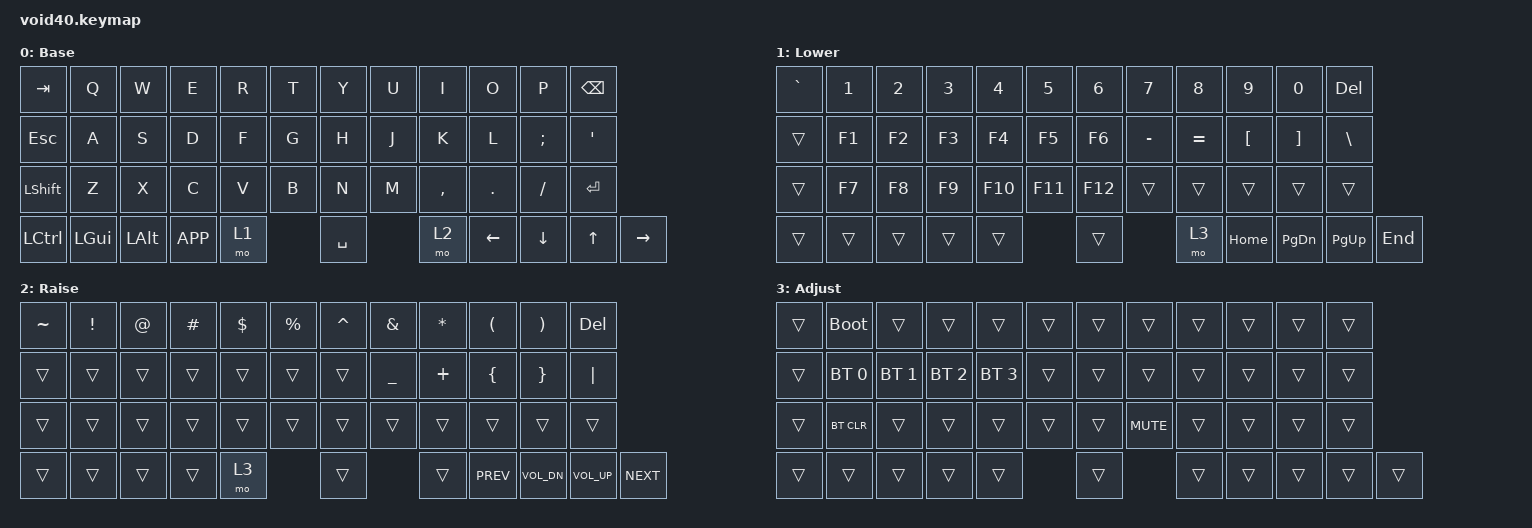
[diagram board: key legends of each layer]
/*
 * Void40 ZMK Keymap — MIT layout (one big spacebar)
 * Controller: Raspberry Pi Pico (RP2040)
 * Layers: Base, Lower, Raise, Adjust
 */

#include <behaviors.dtsi>
#include <dt-bindings/zmk/keys.h>
#include <dt-bindings/zmk/bt.h>
#include <dt-bindings/zmk/outputs.h>

/ {
    keymap {
        compatible = "zmk,keymap";

        // Layer 0: Base (QWERTY)
        base_layer {
            label = "Base";
            bindings = <
                &kp TAB    &kp Q    &kp W    &kp E    &kp R    &kp T    &kp Y    &kp U    &kp I     &kp O    &kp P     &kp BSPC
                &kp ESC    &kp A    &kp S    &kp D    &kp F    &kp G    &kp H    &kp J    &kp K     &kp L    &kp SEMI  &kp SQT
                &kp LSHFT  &kp Z    &kp X    &kp C    &kp V    &kp B    &kp N    &kp M    &kp COMMA &kp DOT  &kp FSLH  &kp RET
                &kp LCTRL  &kp LGUI &kp LALT &kp APP  &mo 1             &kp SPC           &mo 2     &kp LEFT &kp DOWN  &kp UP   &kp RIGHT
            >;
        };

        // Layer 1: Lower — numbers, F-keys
        lower_layer {
            label = "Lower";
            bindings = <
                &kp GRAVE  &kp N1   &kp N2   &kp N3   &kp N4   &kp N5   &kp N6   &kp N7   &kp N8   &kp N9   &kp N0    &kp DEL
                &trans     &kp F1   &kp F2   &kp F3   &kp F4   &kp F5   &kp F6   &kp MINUS &kp EQUAL &kp LBKT &kp RBKT &kp BSLH
                &trans     &kp F7   &kp F8   &kp F9   &kp F10  &kp F11  &kp F12  &trans   &trans   &trans   &trans    &trans
                &trans     &trans   &trans   &trans   &trans            &trans            &mo 3    &kp HOME &kp PG_DN &kp PG_UP &kp END
            >;
        };

        // Layer 2: Raise — shifted symbols, media
        raise_layer {
            label = "Raise";
            bindings = <
                &kp TILDE  &kp EXCL &kp AT   &kp HASH &kp DLLR &kp PRCNT &kp CARET &kp AMPS &kp ASTRK &kp LPAR &kp RPAR &kp DEL
                &trans     &trans   &trans   &trans   &trans   &trans   &trans   &kp UNDER &kp PLUS &kp LBRC &kp RBRC  &kp PIPE
                &trans     &trans   &trans   &trans   &trans   &trans   &trans   &trans   &trans   &trans   &trans    &trans
                &trans     &trans   &trans   &trans   &mo 3             &trans            &trans   &kp C_PREV &kp C_VOL_DN &kp C_VOL_UP &kp C_NEXT
            >;
        };

        // Layer 3: Adjust — Bluetooth, reset
        adjust_layer {
            label = "Adjust";
            bindings = <
                &trans     &bootloader &trans &trans  &trans   &trans   &trans   &trans   &trans   &trans   &trans    &trans
                &trans     &bt BT_SEL 0 &bt BT_SEL 1 &bt BT_SEL 2 &bt BT_SEL 3 &trans &trans &trans &trans &trans &trans &trans
                &trans     &bt BT_CLR &trans &trans  &trans   &trans   &trans   &kp C_MUTE &trans &trans &trans    &trans
                &trans     &trans   &trans   &trans   &trans            &trans            &trans   &trans   &trans   &trans    &trans
            >;
        };
    };
};
